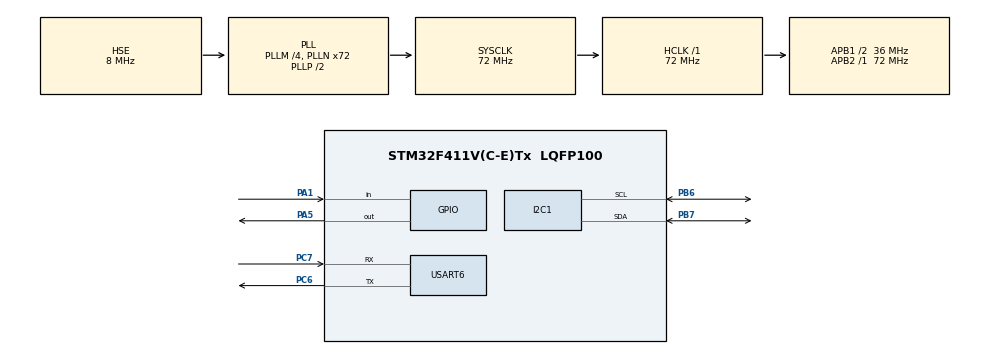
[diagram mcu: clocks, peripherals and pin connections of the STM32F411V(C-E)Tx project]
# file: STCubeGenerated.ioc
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Dma.Request0=USART6_RX
Dma.USART6_RX.0.Direction=DMA_PERIPH_TO_MEMORY
Dma.USART6_RX.0.FIFOMode=DMA_FIFOMODE_DISABLE
Dma.USART6_RX.0.Instance=DMA2_Stream1
Dma.USART6_RX.0.MemDataAlignment=DMA_MDATAALIGN_BYTE
Dma.USART6_RX.0.MemInc=DMA_MINC_ENABLE
Dma.USART6_RX.0.Mode=DMA_NORMAL
Dma.USART6_RX.0.PeriphDataAlignment=DMA_PDATAALIGN_BYTE
Dma.USART6_RX.0.PeriphInc=DMA_PINC_DISABLE
Dma.USART6_RX.0.Priority=DMA_PRIORITY_LOW
Mcu.Family=STM32F4
Mcu.Name=STM32F411V(C-E)Tx
Mcu.Package=LQFP100
NVIC.DMA2_Stream1_IRQn=true\:0\:0\:false\:false\:true\:false\:true
NVIC.PriorityGroup=NVIC_PRIORITYGROUP_4
NVIC.USART6_IRQn=true\:0\:0\:false\:false\:true\:true\:true
PA1.GPIO_PuPd=GPIO_PULLUP
PA1.Signal=GPIO_Input
PA5.Signal=GPIO_Output
PB6.Mode=I2C
PB6.Signal=I2C1_SCL
PB7.Mode=I2C
PB7.Signal=I2C1_SDA
PC6.Mode=Asynchronous
PC6.Signal=USART6_TX
PC7.Mode=Asynchronous
PC7.Signal=USART6_RX
PH0\ -\ OSC_IN.Mode=HSE-External-Oscillator
PH0\ -\ OSC_IN.Signal=RCC_OSC_IN
PH1\ -\ OSC_OUT.Mode=HSE-External-Oscillator
PH1\ -\ OSC_OUT.Signal=RCC_OSC_OUT
ProjectManager.HeapSize=0x200
ProjectManager.StackSize=0x400
ProjectManager.TargetToolchain=MDK-ARM V5
RCC.48MHZClocksFreq_Value=36000000
RCC.AHBFreq_Value=72000000
RCC.APB1CLKDivider=RCC_HCLK_DIV2
RCC.APB1Freq_Value=36000000
RCC.APB1TimFreq_Value=72000000
RCC.APB2Freq_Value=72000000
RCC.APB2TimFreq_Value=72000000
RCC.CortexFreq_Value=72000000
RCC.HCLKFreq_Value=72000000
RCC.HSE_VALUE=8000000
RCC.HSI_VALUE=16000000
RCC.LSE_VALUE=32768
RCC.PLLM=4
RCC.PLLN=72
RCC.PLLSourceVirtual=RCC_PLLSOURCE_HSE
RCC.SYSCLKFreq_VALUE=72000000
RCC.SYSCLKSource=RCC_SYSCLKSOURCE_PLLCLK
RCC.VCOOutputFreq_Value=144000000
USART6.VirtualMode=VM_ASYNC
board=custom

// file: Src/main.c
/* USER CODE BEGIN Header */
/**
  ******************************************************************************
  * @file           : main.c
  * @brief          : Main program body
  ******************************************************************************
  * @attention
  *
  * <h2><center>&copy; Copyright (c) 2022 STMicroelectronics.
  * All rights reserved.</center></h2>
  *
  * This software component is licensed by ST under BSD 3-Clause license,
  * the "License"; You may not use this file except in compliance with the
  * License. You may obtain a copy of the License at:
  *                        opensource.org/licenses/BSD-3-Clause
  *
  ******************************************************************************
  */
/* USER CODE END Header */

#include <stdio.h>
#include "main.h"
#include "dma.h"
#include "i2c.h"
#include "usart.h"
#include "gpio.h"
#include "i2c_gy30.h"

void SystemClock_Config(void);

/* USER CODE BEGIN 0 */

/* PRINTF REDIRECT to UART BEGIN */
// @see    http://www.keil.com/forum/60531/
// @see    https://stackoverflow.com/questions/45535126/stm32-printf-redirect

FILE __stdout;

int fputc(int ch, FILE *f){
	HAL_UART_Transmit(&huart6, (uint8_t *)&ch, 1, 0xFFFF);
  return ch;
}

int ferror(FILE *f){
  /* Your implementation of ferror(). */
  return 0;
}

#if UART_WITH_DMA
char UART6_rxBuffer[100];
void HAL_UART_RxCpltCallback(UART_HandleTypeDef *huart)
{
    HAL_UART_Transmit(&huart6, UART6_rxBuffer, 12, 100);
    HAL_UART_Receive_DMA(&huart6, UART6_rxBuffer, 12);
}
#endif

/* USER CODE END 0 */

int main(void)
{

  /* MCU Configuration--------------------------------------------------------*/

  /* Reset of all peripherals, Initializes the Flash interface and the Systick. */
  HAL_Init();

  /* Configure the system clock */
  SystemClock_Config();

  /* Initialize all configured peripherals */
  MX_GPIO_Init();
  MX_DMA_Init();
  MX_USART6_UART_Init();
  MX_I2C1_Init();
  /* USER CODE BEGIN 2 */

	gy30_init();
  /* USER CODE END 2 */

  /* Infinite loop */
  /* USER CODE BEGIN WHILE */

	int cnt=0;
  while (1)
  {
		double val = gy30_read();
		printf("val = %lf\n", val);
    /* USER CODE END WHILE */

    /* USER CODE BEGIN 3 */
		HAL_Delay(1000);
  }
  /* USER CODE END 3 */
}

void SystemClock_Config(void)
{
  RCC_OscInitTypeDef RCC_OscInitStruct = {0};
  RCC_ClkInitTypeDef RCC_ClkInitStruct = {0};

  /** Configure the main internal regulator output voltage
  */
  __HAL_RCC_PWR_CLK_ENABLE();
  __HAL_PWR_VOLTAGESCALING_CONFIG(PWR_REGULATOR_VOLTAGE_SCALE1);
  /** Initializes the CPU, AHB and APB busses clocks
  */
  RCC_OscInitStruct.OscillatorType = RCC_OSCILLATORTYPE_HSE;
  RCC_OscInitStruct.HSEState = RCC_HSE_ON;
  RCC_OscInitStruct.PLL.PLLState = RCC_PLL_ON;
  RCC_OscInitStruct.PLL.PLLSource = RCC_PLLSOURCE_HSE;
  RCC_OscInitStruct.PLL.PLLM = 4;
  RCC_OscInitStruct.PLL.PLLN = 72;
  RCC_OscInitStruct.PLL.PLLP = RCC_PLLP_DIV2;
  RCC_OscInitStruct.PLL.PLLQ = 4;
  if (HAL_RCC_OscConfig(&RCC_OscInitStruct) != HAL_OK)
  {
    Error_Handler();
  }
  /** Initializes the CPU, AHB and APB busses clocks
  */
  RCC_ClkInitStruct.ClockType = RCC_CLOCKTYPE_HCLK|RCC_CLOCKTYPE_SYSCLK
                              |RCC_CLOCKTYPE_PCLK1|RCC_CLOCKTYPE_PCLK2;
  RCC_ClkInitStruct.SYSCLKSource = RCC_SYSCLKSOURCE_PLLCLK;
  RCC_ClkInitStruct.AHBCLKDivider = RCC_SYSCLK_DIV1;
  RCC_ClkInitStruct.APB1CLKDivider = RCC_HCLK_DIV2;
  RCC_ClkInitStruct.APB2CLKDivider = RCC_HCLK_DIV1;

  if (HAL_RCC_ClockConfig(&RCC_ClkInitStruct, FLASH_LATENCY_2) != HAL_OK)
  {
    Error_Handler();
  }
}

void Error_Handler(void)
{
}

/************************ (C) COPYRIGHT STMicroelectronics *****END OF FILE****/
